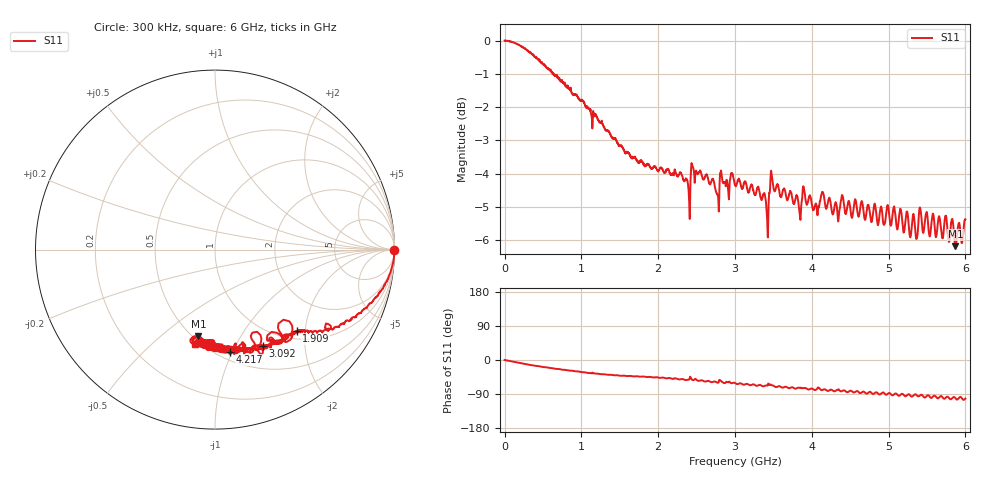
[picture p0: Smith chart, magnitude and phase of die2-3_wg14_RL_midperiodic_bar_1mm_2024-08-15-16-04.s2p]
!Keysight Technologies,P9374A,MY57304198,A.17.20.09
!Date: Thursday, August 15, 2024 16:04:26
!Correction: S11(C  1-Port  )
!S21(C  1-Port  )
!S12(Off)
!S22(Off)
!S2P File: Measurements: S11, S21, S12, S22:
# Hz S  dB  R 50
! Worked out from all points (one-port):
!   6000 points, 300 kHz to 6 GHz, reference 50 ohm
!   lowest |S11| = -6.2 dB at 5.87 GHz (marker M1), VSWR 2.93, Z = 26.6 - j33.8 ohm
!   |S11| at or under -10 dB: nowhere
!   S11 on the Smith chart (normalised r, x): 300 kHz: open; 1.909 GHz: 1.17, -1.80; 3.092 GHz: 0.78, -1.30; 4.217 GHz: 0.58, -0.98; 6 GHz: 0.47, -0.70
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300000  -0.00 -0.0  -200.00 45.0  -200.00 45.0  -200.00 45.0
4.953578e8  -0.69 -18.4  -200.00 45.0  -200.00 45.0  -200.00 45.0
1.000417e9  -1.80 -31.9  -200.00 45.0  -200.00 45.0  -200.00 45.0
1.499475e9  -3.16 -41.4  -200.00 45.0  -200.00 45.0  -200.00 45.0
1.908523e9  -3.84 -45.0  -200.00 45.0  -200.00 45.0  -200.00 45.0
2.000533e9  -3.92 -46.3  -200.00 45.0  -200.00 45.0  -200.00 45.0
2.357575e9  -4.18 -53.0  -200.00 45.0  -200.00 45.0  -200.00 45.0
2.40158e9  -4.72 -51.8  -200.00 45.0  -200.00 45.0  -200.00 45.0
2.527595e9  -3.96 -55.1  -200.00 45.0  -200.00 45.0  -200.00 45.0
2.775624e9  -4.65 -60.1  -200.00 45.0  -200.00 45.0  -200.00 45.0
2.820629e9  -3.94 -55.8  -200.00 45.0  -200.00 45.0  -200.00 45.0
3.00065e9  -4.33 -60.9  -200.00 45.0  -200.00 45.0  -200.00 45.0
3.091661e9  -4.46 -63.4  -200.00 45.0  -200.00 45.0  -200.00 45.0
3.369693e9  -4.62 -69.5  -200.00 45.0  -200.00 45.0  -200.00 45.0
3.4257e9  -5.84 -66.5  -200.00 45.0  -200.00 45.0  -200.00 45.0
3.461704e9  -4.16 -64.5  -200.00 45.0  -200.00 45.0  -200.00 45.0
3.613722e9  -4.61 -72.9  -200.00 45.0  -200.00 45.0  -200.00 45.0
4.000767e9  -4.92 -75.3  -200.00 45.0  -200.00 45.0  -200.00 45.0
4.216792e9  -4.78 -81.4  -200.00 45.0  -200.00 45.0  -200.00 45.0
5.000883e9  -5.08 -87.5  -200.00 45.0  -200.00 45.0  -200.00 45.0
5.869985e9  -6.17 -100.9  -200.00 45.0  -200.00 45.0  -200.00 45.0
6e9  -5.37 -101.7  -200.00 45.0  -200.00 45.0  -200.00 45.0
